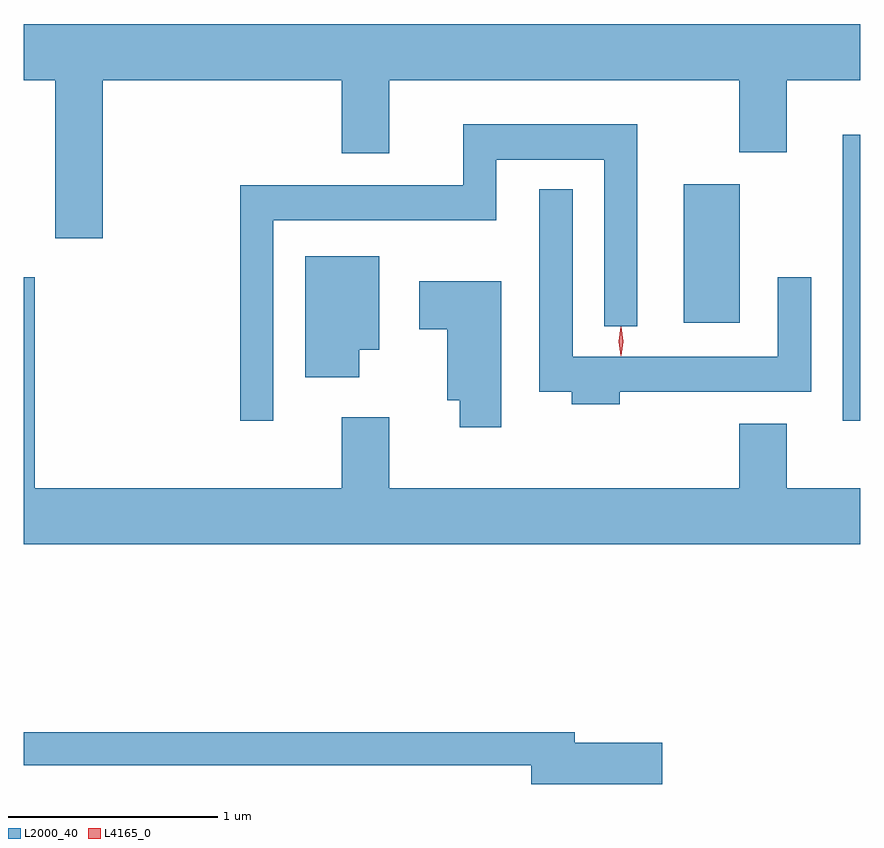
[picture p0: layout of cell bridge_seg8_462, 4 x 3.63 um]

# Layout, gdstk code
import gdstk
lib = gdstk.Library(unit=1e-6, precision=1e-09)
def R(c, l, rs):  # rectangles x0, y0, x1, y1
    for r in rs: c.add(gdstk.rectangle(r[:2], r[2:], *l))
def P(c, l, *ps):  # polygons
    for p in ps: c.add(gdstk.Polygon(p, *l))
L2000_40 = (2000, 40)
L4165_0 = (4165, 0)

bridge_seg8_462 = lib.new_cell('bridge_seg8_462')
R(bridge_seg8_462, L2000_40, [(588.976,1912.488,589.06,1913.854), (588.216,1912.956,588.484,1913.619)])
P(bridge_seg8_462, L2000_40, [(585.439,1914.116),(586.581,1914.116),(586.581,1913.766),(586.809,1913.766),(586.809,1914.116),(588.481,1914.116),(588.481,1913.771),(588.709,1913.771),(588.709,1914.116),(589.06,1914.116),(589.06,1914.384),(585.06,1914.384),(585.06,1914.116),(585.211,1914.116),(585.211,1913.361),(585.439,1913.361)],
  [(586.254,1913.446),(587.319,1913.446),(587.319,1913.736),(587.836,1913.736),(587.836,1912.938),(587.994,1912.938),(587.994,1913.904),(587.161,1913.904),(587.161,1913.614),(586.096,1913.614),(586.096,1912.488),(586.254,1912.488)],
  [(587.909,1912.626),(588.824,1912.626),(588.824,1913.173),(588.666,1913.173),(588.666,1912.794),(587.684,1912.794),(587.684,1913.593),(587.526,1913.593),(587.526,1912.626),(587.681,1912.626),(587.681,1912.566),(587.909,1912.566)],
  [(586.664,1912.826),(586.759,1912.826),(586.759,1913.274),(586.406,1913.274),(586.406,1912.696),(586.664,1912.696)],
  [(589.06,1912.164),(588.709,1912.164),(588.709,1912.474),(588.481,1912.474),(588.481,1912.164),(586.809,1912.164),(586.809,1912.504),(586.581,1912.504),(586.581,1912.164),(585.114,1912.164),(585.114,1913.174),(585.06,1913.174),(585.06,1911.896),(589.06,1911.896)],
  [(587.344,1913.154),(586.951,1913.154),(586.951,1912.926),(587.086,1912.926),(587.086,1912.586),(587.146,1912.586),(587.146,1912.456),(587.344,1912.456)],
  [(588.114,1910.949),(587.694,1910.949),(587.694,1910.999),(585.06,1910.999),(585.06,1910.841),(587.486,1910.841),(587.486,1910.751),(588.114,1910.751)])
P(bridge_seg8_462, L4165_0, [(587.916,1912.797),(587.915,1912.798),(587.906,1912.867),(587.915,1912.936),(587.916,1912.936),(587.916,1912.936),(587.926,1912.867),(587.916,1912.798)],
  [(587.916,1912.799),(587.915,1912.8),(587.905,1912.866),(587.915,1912.932),(587.916,1912.933),(587.916,1912.932),(587.926,1912.866),(587.916,1912.8)])

lib.write_gds('bridge_seg8_462.gds')
